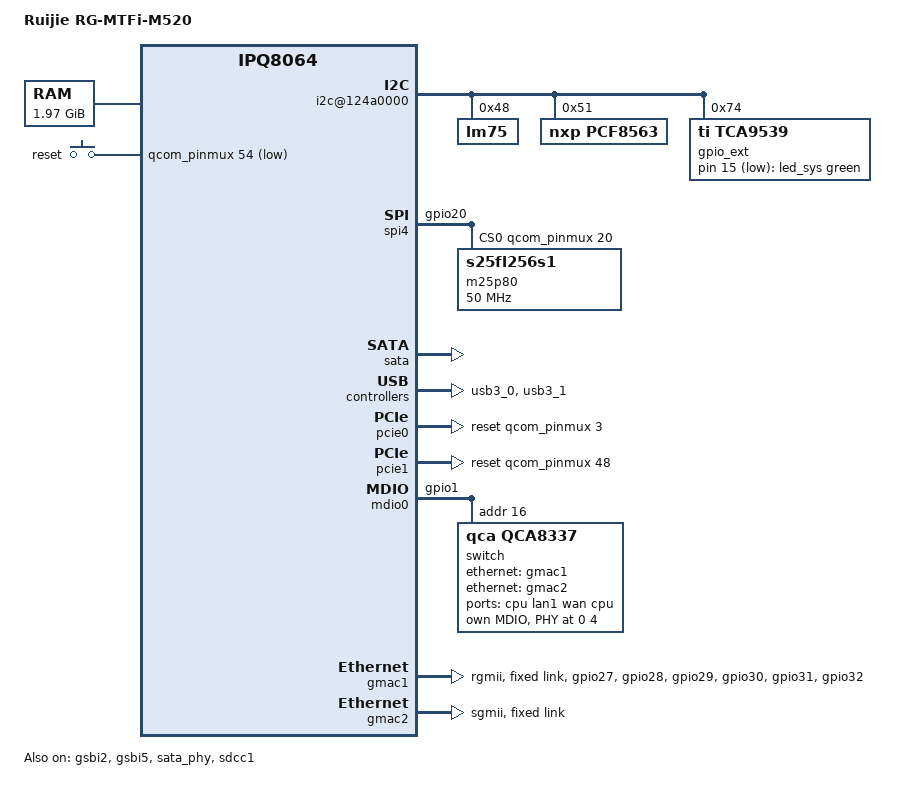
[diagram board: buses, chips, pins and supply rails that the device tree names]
// SPDX-License-Identifier: GPL-2.0-or-later OR MIT

#include "qcom-ipq8064-v2.0-smb208.dtsi"

#include <dt-bindings/input/input.h>
#include <dt-bindings/leds/common.h>

/ {
	model = "Ruijie RG-MTFi-M520";
	compatible = "ruijie,rg-mtfi-m520", "qcom,ipq8064";

	memory@0 {
		reg = <0x42000000 0x7e000000>;
		device_type = "memory";
	};

	aliases {
		mdio-gpio0 = &mdio0;
		sdcc1 = &sdcc1;

		led-boot = &led_sys;
		led-failsafe = &led_sys;
		led-running = &led_sys;
		led-upgrade = &led_sys;
	};

	chosen {
		bootargs = "root=/dev/mmcblk0p3 rootfstype=squashfs,ext4 rootwait noinitrd";
	};

	leds {
		compatible = "gpio-leds";

		led_sys: sys {
			function = LED_FUNCTION_STATUS;
			color = <LED_COLOR_ID_GREEN>;
			gpios = <&gpio_ext 15 GPIO_ACTIVE_LOW>;
		};
	};

	keys {
		compatible = "gpio-keys";
		pinctrl-0 = <&button_pins>;
		pinctrl-names = "default";

		reset {
			label = "reset";
			gpios = <&qcom_pinmux 54 GPIO_ACTIVE_LOW>;
			linux,code = <KEY_RESTART>;
		};
	};
};

&qcom_pinmux {
	button_pins: button_pins {
		mux {
			pins = "gpio54";
			function = "gpio";
			drive-strength = <2>;
			bias-pull-up;
		};
	};

	mdio0_pins: mdio0-pins {
		clk {
			pins = "gpio1";
			input-disable;
		};
	};

	rgmii2_pins: rgmii2-pins {
		tx {
			pins = "gpio27", "gpio28", "gpio29", "gpio30", "gpio31", "gpio32";
			input-disable;
		};
	};

	sdcc1_pins: sdcc1_pinmux {
		mux {
			pins =	"gpio38", "gpio39", "gpio40", "gpio41", "gpio42",
				"gpio43", "gpio44", "gpio45", "gpio46", "gpio47";
			function = "sdc1";
		};

		cmd {
			pins = "gpio45";
			drive-strength = <10>;
			bias-pull-up;
		};

		data {
			pins =	"gpio38", "gpio39", "gpio40", "gpio41",
				"gpio43", "gpio44", "gpio46", "gpio47";
			drive-strength = <10>;
			bias-pull-up;
		};

		clk {
			pins = "gpio42";
			drive-strength = <16>;
			bias-disable;
		};
	};

	spi_pins: spi_pins {
		cs {
			pins = "gpio20";
			drive-strength = <12>;
		};
	};
};

&gsbi2 {
	qcom,mode = <GSBI_PROT_I2C_UART>;
	status = "okay";

	i2c@124a0000 {
		status = "okay";

		lm75@48 {
			compatible = "lm75";
			reg = <0x48>;
		};

		pcf8563: rtc@51 {
			compatible = "nxp,pcf8563";
			reg = <0x51>;
		};

		gpio_ext: tca9539@74 {
			compatible = "ti,tca9539";
			reg = <0x74>;

			gpio-controller;
			#gpio-cells = <2>;
		};
	};
};

&gsbi5 {
	qcom,mode = <GSBI_PROT_SPI>;
	status = "okay";

	spi4: spi@1a280000 {
		status = "okay";

		pinctrl-0 = <&spi_pins>;
		pinctrl-names = "default";

		cs-gpios = <&qcom_pinmux 20 GPIO_ACTIVE_HIGH>;

		m25p80@0 {
			compatible = "s25fl256s1";
			#address-cells = <1>;
			#size-cells = <1>;
			spi-max-frequency = <50000000>;
			reg = <0>;

			SBL1@0 {
				label = "SBL1";
				reg = <0x0 0x10000>;
				read-only;
			};

			MIBIB@10000 {
				label = "MIBIB";
				reg = <0x10000 0x10000>;
				read-only;
			};

			SBL2@20000 {
				label = "SBL2";
				reg = <0x20000 0x20000>;
				read-only;
			};

			SBL3@40000 {
				label = "SBL3";
				reg = <0x40000 0x30000>;
				read-only;
			};

			DDRCONFIG@70000 {
				label = "DDRCONFIG";
				reg = <0x70000 0x10000>;
				read-only;
			};

			PRODUCTINFO@80000 {
				label = "PRODUCTINFO";
				reg = <0x80000 0x10000>;
				read-only;
			};

			TZ@90000 {
				label = "TZ";
				reg = <0x90000 0x30000>;
				read-only;
			};

			RPM@c0000 {
				label = "RPM";
				reg = <0xc0000 0x20000>;
				read-only;
			};

			APPSBL@e0000 {
				label = "APPSBL";
				reg = <0xe0000 0x80000>;
				read-only;
			};

			APPSBLENV@160000 {
				label = "APPSBLENV";
				reg = <0x160000 0x10000>;
				read-only;
			};

			BOOTCONFIG@170000 {
				label = "BOOTCONFIG";
				reg = <0x170000 0x10000>;
				read-only;
			};

			ART@180000 {
				label = "ART";
				reg = <0x180000 0x40000>;
				read-only;
			};
		};
	};
};

&sata_phy {
	status = "okay";
};

&sata {
	status = "okay";
};

&usb3_0 {
	status = "okay";
};

&usb3_1 {
	status = "okay";
};

&pcie0 {
	status = "okay";
	reset-gpio = <&qcom_pinmux 3 GPIO_ACTIVE_HIGH>;
	pinctrl-0 = <&pcie0_pins>;
	pinctrl-names = "default";
};

&pcie1 {
	status = "okay";
	reset-gpio = <&qcom_pinmux 48 GPIO_ACTIVE_HIGH>;
	pinctrl-0 = <&pcie1_pins>;
	pinctrl-names = "default";
	max-link-speed = <1>;
};

&mdio0 {
	status = "okay";

	pinctrl-0 = <&mdio0_pins>;
	pinctrl-names = "default";

	switch@10 {
		compatible = "qca,qca8337";
		#address-cells = <1>;
		#size-cells = <0>;
		reg = <0x10>;

		ports {
			#address-cells = <1>;
			#size-cells = <0>;

			port@0 {
				reg = <0>;
				label = "cpu";
				ethernet = <&gmac1>;
				phy-mode = "rgmii";
				tx-internal-delay-ps = <1000>;
				rx-internal-delay-ps = <1000>;

				fixed-link {
					speed = <1000>;
					full-duplex;
				};
			};

			port@1 {
				reg = <1>;
				label = "lan1";
				phy-mode = "internal";
				phy-handle = <&phy_port1>;
			};

			port@5 {
				reg = <5>;
				label = "wan";
				phy-mode = "internal";
				phy-handle = <&phy_port5>;
			};

			port@6 {
				reg = <6>;
				label = "cpu";
				ethernet = <&gmac2>;
				phy-mode = "sgmii";
				qca,sgmii-enable-pll;

				fixed-link {
					speed = <1000>;
					full-duplex;
				};
			};
		};

		mdio {
			#address-cells = <1>;
			#size-cells = <0>;

			phy_port1: phy@0 {
				reg = <0>;
			};

			phy_port5: phy@4 {
				reg = <4>;
			};
		};
	};
};

&gmac1 {
	status = "okay";
	phy-mode = "rgmii";
	qcom,id = <1>;

	pinctrl-0 = <&rgmii2_pins>;
	pinctrl-names = "default";

	fixed-link {
		speed = <1000>;
		full-duplex;
	};
};

&gmac2 {
	status = "okay";
	phy-mode = "sgmii";
	qcom,id = <2>;

	fixed-link {
		speed = <1000>;
		full-duplex;
	};
};

&sdcc1 {
	status = "okay";
	pinctrl-0 = <&sdcc1_pins>;
	pinctrl-names = "default";
};

&adm_dma {
	status = "okay";
};

&CPU_SPC {
	status = "disabled";
};
